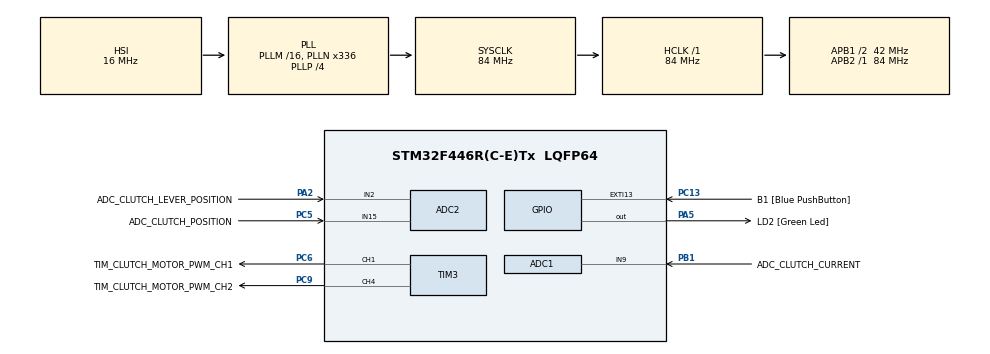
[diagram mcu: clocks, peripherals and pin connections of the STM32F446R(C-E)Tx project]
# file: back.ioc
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ADC1.Channel-0\#ChannelRegularConversion=ADC_CHANNEL_9
ADC1.DMAContinuousRequests=ENABLE
ADC1.ExternalTrigConv=ADC_EXTERNALTRIGCONV_T3_TRGO
ADC1.InjNumberOfConversion=0
ADC1.NbrOfConversion=1
ADC1.NbrOfConversionFlag=1
ADC1.Rank-0\#ChannelRegularConversion=1
ADC1.SamplingTime-0\#ChannelRegularConversion=ADC_SAMPLETIME_3CYCLES
ADC1.ScanConvMode=DISABLE
ADC1.master=1
ADC2.Channel-0\#ChannelRegularConversion=ADC_CHANNEL_15
ADC2.Channel-1\#ChannelRegularConversion=ADC_CHANNEL_2
ADC2.DMAContinuousRequests=ENABLE
ADC2.ExternalTrigConv=ADC_EXTERNALTRIGCONV_T2_TRGO
ADC2.NbrOfConversion=2
ADC2.NbrOfConversionFlag=1
ADC2.Rank-0\#ChannelRegularConversion=1
ADC2.Rank-1\#ChannelRegularConversion=2
ADC2.SamplingTime-0\#ChannelRegularConversion=ADC_SAMPLETIME_3CYCLES
ADC2.SamplingTime-1\#ChannelRegularConversion=ADC_SAMPLETIME_3CYCLES
Dma.ADC1.1.Direction=DMA_PERIPH_TO_MEMORY
Dma.ADC1.1.FIFOMode=DMA_FIFOMODE_DISABLE
Dma.ADC1.1.Instance=DMA2_Stream0
Dma.ADC1.1.MemDataAlignment=DMA_MDATAALIGN_HALFWORD
Dma.ADC1.1.MemInc=DMA_MINC_ENABLE
Dma.ADC1.1.Mode=DMA_CIRCULAR
Dma.ADC1.1.PeriphDataAlignment=DMA_PDATAALIGN_HALFWORD
Dma.ADC1.1.PeriphInc=DMA_PINC_DISABLE
Dma.ADC1.1.Priority=DMA_PRIORITY_MEDIUM
Dma.ADC2.0.Direction=DMA_PERIPH_TO_MEMORY
Dma.ADC2.0.FIFOMode=DMA_FIFOMODE_DISABLE
Dma.ADC2.0.Instance=DMA2_Stream2
Dma.ADC2.0.MemDataAlignment=DMA_MDATAALIGN_HALFWORD
Dma.ADC2.0.MemInc=DMA_MINC_ENABLE
Dma.ADC2.0.Mode=DMA_CIRCULAR
Dma.ADC2.0.PeriphDataAlignment=DMA_PDATAALIGN_HALFWORD
Dma.ADC2.0.PeriphInc=DMA_PINC_DISABLE
Dma.ADC2.0.Priority=DMA_PRIORITY_LOW
Dma.Request0=ADC2
Dma.Request1=ADC1
Mcu.Family=STM32F4
Mcu.Name=STM32F446R(C-E)Tx
Mcu.Package=LQFP64
Mcu.UserConstants=TIM_CLUTCH_MOTOR_PWM_ARR_DEFAULT,(4200-1)
NVIC.DMA2_Stream0_IRQn=true\:0\:0\:false\:false\:true\:false\:true\:true
NVIC.DMA2_Stream2_IRQn=true\:0\:0\:false\:false\:true\:false\:true\:true
NVIC.PriorityGroup=NVIC_PRIORITYGROUP_0
PA13.GPIO_Label=TMS
PA13.Mode=Serial_Wire
PA13.Signal=SYS_JTMS-SWDIO
PA14.GPIO_Label=TCK
PA14.Mode=Serial_Wire
PA14.Signal=SYS_JTCK-SWCLK
PA2.GPIO_Label=ADC_CLUTCH_LEVER_POSITION
PA2.Signal=ADCx_IN2
PA5.GPIO_Label=LD2 [Green Led]
PA5.Signal=GPIO_Output
PB1.GPIO_Label=ADC_CLUTCH_CURRENT
PB1.Signal=ADCx_IN9
PB3.GPIO_Label=SWO
PB3.Signal=SYS_JTDO-SWO
PB6.Signal=USART1_TX
PB7.Signal=USART1_RX
PC13.GPIO_Label=B1 [Blue PushButton]
PC13.GPIO_ModeDefaultEXTI=GPIO_MODE_IT_FALLING
PC13.Signal=GPXTI13
PC14-OSC32_IN.Mode=LSE-External-Oscillator
PC14-OSC32_IN.Signal=RCC_OSC32_IN
PC15-OSC32_OUT.Mode=LSE-External-Oscillator
PC15-OSC32_OUT.Signal=RCC_OSC32_OUT
PC5.GPIO_Label=ADC_CLUTCH_POSITION
PC5.Signal=ADCx_IN15
PC6.GPIO_Label=TIM_CLUTCH_MOTOR_PWM_CH1
PC6.Signal=S_TIM3_CH1
PC9.GPIO_Label=TIM_CLUTCH_MOTOR_PWM_CH2
PC9.Signal=S_TIM3_CH4
PH0-OSC_IN.Mode=HSE-External-Oscillator
PH0-OSC_IN.Signal=RCC_OSC_IN
PH1-OSC_OUT.Mode=HSE-External-Oscillator
PH1-OSC_OUT.Signal=RCC_OSC_OUT
ProjectManager.HeapSize=0x200
ProjectManager.StackSize=0x400
ProjectManager.TargetToolchain=STM32CubeIDE
RCC.48MHZClocksFreq_Value=84000000
RCC.AHBFreq_Value=84000000
RCC.APB1CLKDivider=RCC_HCLK_DIV2
RCC.APB1Freq_Value=42000000
RCC.APB1TimFreq_Value=84000000
RCC.APB2Freq_Value=84000000
RCC.APB2TimFreq_Value=84000000
RCC.CortexFreq_Value=84000000
RCC.FLatency-AdvancedSettings=FLASH_LATENCY_2
RCC.HCLKFreq_Value=84000000
RCC.HSE_VALUE=8000000
RCC.HSI_VALUE=16000000
RCC.PLLN=336
RCC.PLLP=RCC_PLLP_DIV4
RCC.SYSCLKFreq_VALUE=84000000
RCC.SYSCLKSource=RCC_SYSCLKSOURCE_PLLCLK
RCC.USBFreq_Value=168000000
RCC.VCOOutputFreq_Value=336000000
SH.ADCx_IN15.0=ADC2_IN15,IN15
SH.ADCx_IN2.0=ADC2_IN2,IN2
SH.ADCx_IN9.0=ADC1_IN9,IN9
SH.S_TIM3_CH1.0=TIM3_CH1,PWM Generation1 CH1
SH.S_TIM3_CH4.0=TIM3_CH4,PWM Generation4 CH4
TIM2.Channel-Output\ Compare1\ No\ Output=TIM_CHANNEL_1
TIM2.ClockDivision=TIM_CLOCKDIVISION_DIV1
TIM2.Period=84000-1
TIM2.TIM_MasterOutputTrigger=TIM_TRGO_UPDATE
TIM3.Channel-PWM\ Generation1\ CH1=TIM_CHANNEL_1
TIM3.Channel-PWM\ Generation4\ CH4=TIM_CHANNEL_4
TIM3.CounterMode=TIM_COUNTERMODE_CENTERALIGNED1
TIM3.Period=TIM_CLUTCH_MOTOR_PWM_ARR_DEFAULT
TIM3.TIM_MasterOutputTrigger=TIM_TRGO_UPDATE
VP_TIM2_VS_ClockSourceINT.Mode=Internal
VP_TIM2_VS_no_output1.Mode=Output Compare1 No Output
VP_TIM3_VS_ClockSourceINT.Mode=Internal
board=NUCLEO-F446RE

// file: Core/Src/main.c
/* USER CODE BEGIN Header */
/**
  ******************************************************************************
  * @file           : main.c
  * @brief          : Main program body
  ******************************************************************************
  * @attention
  *
  * Copyright (c) 2023 STMicroelectronics.
  * All rights reserved.
  *
  * This software is licensed under terms that can be found in the LICENSE file
  * in the root directory of this software component.
  * If no LICENSE file comes with this software, it is provided AS-IS.
  *
  ******************************************************************************
  */
/* USER CODE END Header */
#include "main.h"

/* USER CODE BEGIN Includes */
#include <stdbool.h>
/* USER CODE END Includes */

ADC_HandleTypeDef hadc1;
ADC_HandleTypeDef hadc2;
DMA_HandleTypeDef hdma_adc1;
DMA_HandleTypeDef hdma_adc2;

TIM_HandleTypeDef htim2;
TIM_HandleTypeDef htim3;

void SystemClock_Config(void);
static void MX_GPIO_Init(void);
static void MX_DMA_Init(void);
static void MX_TIM3_Init(void);
static void MX_ADC1_Init(void);
static void MX_ADC2_Init(void);
static void MX_TIM2_Init(void);

/* USER CODE BEGIN 0 */

/*
 * UTILITIES
 */

#define MIN(a, b) (((a) < (b))? (a) : (b))
#define MAX(a, b) (((a) > (b))? (a) : (b))
#define CLAMP(x, min, max) MAX(min, MIN(max, x))

// This doesn't expand the arguments
#define CONCAT_NOEXP(x, y) x ## y
// This does
#define CONCAT(x, y) CONCAT_NOEXP(x, y)

/*
 * CLUTCH MAIN LOGIC
 */

#define CLUTCH_CURRENT_HAL_ADC_HANDLE &hadc1
#define CLUTCH_POSITION_HAL_ADC_HANDLE &hadc2

#define CLUTCH_CURRENT_HAL_DMA_HANDLE &hdma_adc1
#define CLUTCH_POSITION_HAL_DMA_HANDLE &hdma_adc2

#define CLUTCH_POSITION_DMA_BUF_LEN 2
#define CLUTCH_CURRENT_DMA_BUF_LEN 1

uint32_t clutchPositionDmaBuf[CLUTCH_POSITION_DMA_BUF_LEN];
uint32_t clutchCurrentDmaBuf[CLUTCH_CURRENT_DMA_BUF_LEN];

#define TIM_CLUTCH_MOTOR_PWM_HAL_HANDLE &htim3
#define TIM_CLUTCH_POSADC_TRG_HAL_HANDLE &htim2

#define TIM_CLUTCH_MOTOR_PWM TIM3
#define TIM_CLUTCH_MOTOR_PWM_CCR1 TIM_CLUTCH_MOTOR_PWM->CCR1
#define TIM_CLUTCH_MOTOR_PWM_CCR2 TIM_CLUTCH_MOTOR_PWM->CCR4

/**
 * @brief Writes to the PWM timers the duty cycle that corresponds to the torque x.
 * @param x A value in the range [-1, 1] expressing the signed torque:
 *        0 means the motor applies no torque,
 *        +-1 means the motor applies full torque in the direction expressed by the sign.
 */
float lastTorque = 0.0f;

void clutchWriteTorque(float x) {
  if (x == 0) {
	lastTorque = 0.0f;

	// The motor should apply no torque. Set both PWM duty cycles to 0 to completely stop any current.
    TIM_CLUTCH_MOTOR_PWM_CCR1 = 0;
    TIM_CLUTCH_MOTOR_PWM_CCR2 = 0;
    return;
  }

  // Force x to be in the valid range
  x = CLAMP(x, -1, 1);
  lastTorque = x;

  // Map x from [-1, 1] to [-HALF_ARR, HALF_ARR]
  const int32_t HALF_ARR = (TIM_CLUTCH_MOTOR_PWM_ARR_DEFAULT) / 2;
  int32_t diff_from_half = (int32_t)(x * HALF_ARR);

  // Clamp the result to avoid overflow due to floating point errors
  diff_from_half = CLAMP(diff_from_half, -HALF_ARR, HALF_ARR);

  // Then write the CCRs, one complementary to the other.
  TIM_CLUTCH_MOTOR_PWM_CCR1 = HALF_ARR + diff_from_half;
  TIM_CLUTCH_MOTOR_PWM_CCR2 = HALF_ARR - diff_from_half;
}

void clutchCurrentADCConversionComplete_InterruptHandler(ADC_HandleTypeDef* hadc) {
  // TODO: update PID

  float reading = clutchCurrentDmaBuf[0];

  // MMR_CLUTCH_SetAdcMotorCurrent(...);

  // float ans = MMR_CLUTCH_UpdateCurrentRing();
  float ans = 0.0f;
  clutchWriteTorque(ans);
}

void clutchPositionADCConversionComplete_InterruptHandler(ADC_HandleTypeDef* hadc) {
  float readingMotor = clutchPositionDmaBuf[0];
  float readingLever = clutchPositionDmaBuf[1];

  // TODO: update PID
  // MMR_CLUTCH_SetAdcLeverPosition(..)
  // MMR_CLUTCH_SetAdcMotorPosition(..)
  // MMR_CLUTCH_UpdatePositionRing();
}

/*
 * CLUTCH ADC/DMA MANAGEMENT
 */

bool clutchDmaError = false;
void clutchDMATransferError_InterruptHandler(DMA_HandleTypeDef *hdma) {
	// Signal the rest of the program that the clutch DMA peripheral has entered an error state so that a restart is attempted
	clutchDmaError = true;
}

bool startClutchAdcDma(ADC_HandleTypeDef* hadc, DMA_HandleTypeDef* hdma, pADC_CallbackTypeDef convCompleteCallback, uint32_t* buf, uint32_t buf_len) {
  // HAL_*_RegisterCallback only returns false on bad parameters
  bool cbOk = HAL_OK == HAL_ADC_RegisterCallback(hadc, HAL_ADC_CONVERSION_COMPLETE_CB_ID, convCompleteCallback)
  	  	   && HAL_OK == HAL_DMA_RegisterCallback(hdma, HAL_DMA_XFER_ERROR_CB_ID, clutchDMATransferError_InterruptHandler);

  bool startOk = HAL_OK == HAL_ADC_Start_DMA(hadc, buf, buf_len);
  return cbOk && startOk;
}

bool startClutchCurrentAdcDma() {
  return startClutchAdcDma(
		  CLUTCH_CURRENT_HAL_ADC_HANDLE,
		  CLUTCH_CURRENT_HAL_DMA_HANDLE,
		  clutchCurrentADCConversionComplete_InterruptHandler,
		  clutchCurrentDmaBuf,
		  CLUTCH_CURRENT_DMA_BUF_LEN);
}

bool startClutchPositionAdcDma() {
  return startClutchAdcDma(
		  CLUTCH_POSITION_HAL_ADC_HANDLE,
		  CLUTCH_POSITION_HAL_DMA_HANDLE,
		  clutchPositionADCConversionComplete_InterruptHandler,
		  clutchPositionDmaBuf,
		  CLUTCH_POSITION_DMA_BUF_LEN);
}

bool tryStartClutchAdcDma() {
  return !(startClutchCurrentAdcDma() && startClutchPositionAdcDma());
}

/* USER CODE END 0 */

int main(void)
{

  /* MCU Configuration--------------------------------------------------------*/

  /* Reset of all peripherals, Initializes the Flash interface and the Systick. */
  HAL_Init();

  /* Configure the system clock */
  SystemClock_Config();

  /* Initialize all configured peripherals */
  MX_GPIO_Init();
  MX_DMA_Init();
  MX_TIM3_Init();
  MX_ADC1_Init();
  MX_ADC2_Init();
  MX_TIM2_Init();
  /* USER CODE BEGIN 2 */

  HAL_TIM_Base_Start(TIM_CLUTCH_POSADC_TRG_HAL_HANDLE);

  HAL_TIM_Base_Start(TIM_CLUTCH_MOTOR_PWM_HAL_HANDLE);
  HAL_TIM_PWM_Start(TIM_CLUTCH_MOTOR_PWM_HAL_HANDLE, TIM_CHANNEL_1);
  HAL_TIM_PWM_Start(TIM_CLUTCH_MOTOR_PWM_HAL_HANDLE, TIM_CHANNEL_4);

  clutchDmaError = tryStartClutchAdcDma();

  /* USER CODE END 2 */

  /* Infinite loop */
  while (1)
  {

    /* USER CODE BEGIN 3 */

	// If one of the clutch DMA peripherals are in an error state
	if (clutchDmaError) {
	  // Stop the motor
	  clutchWriteDutyCycle(0.0f);

	  // Attempt to restart the peripherals
	  clutchDmaError = tryStartClutchAdcDma();
	}
  }
  /* USER CODE END 3 */
}

void SystemClock_Config(void)
{
  RCC_OscInitTypeDef RCC_OscInitStruct = {0};
  RCC_ClkInitTypeDef RCC_ClkInitStruct = {0};

  /** Configure the main internal regulator output voltage
  */
  __HAL_RCC_PWR_CLK_ENABLE();
  __HAL_PWR_VOLTAGESCALING_CONFIG(PWR_REGULATOR_VOLTAGE_SCALE3);

  /** Initializes the RCC Oscillators according to the specified parameters
  * in the RCC_OscInitTypeDef structure.
  */
  RCC_OscInitStruct.OscillatorType = RCC_OSCILLATORTYPE_HSI;
  RCC_OscInitStruct.HSIState = RCC_HSI_ON;
  RCC_OscInitStruct.HSICalibrationValue = RCC_HSICALIBRATION_DEFAULT;
  RCC_OscInitStruct.PLL.PLLState = RCC_PLL_ON;
  RCC_OscInitStruct.PLL.PLLSource = RCC_PLLSOURCE_HSI;
  RCC_OscInitStruct.PLL.PLLM = 16;
  RCC_OscInitStruct.PLL.PLLN = 336;
  RCC_OscInitStruct.PLL.PLLP = RCC_PLLP_DIV4;
  RCC_OscInitStruct.PLL.PLLQ = 2;
  RCC_OscInitStruct.PLL.PLLR = 2;
  if (HAL_RCC_OscConfig(&RCC_OscInitStruct) != HAL_OK)
  {
    Error_Handler();
  }

  /** Initializes the CPU, AHB and APB buses clocks
  */
  RCC_ClkInitStruct.ClockType = RCC_CLOCKTYPE_HCLK|RCC_CLOCKTYPE_SYSCLK
                              |RCC_CLOCKTYPE_PCLK1|RCC_CLOCKTYPE_PCLK2;
  RCC_ClkInitStruct.SYSCLKSource = RCC_SYSCLKSOURCE_PLLCLK;
  RCC_ClkInitStruct.AHBCLKDivider = RCC_SYSCLK_DIV1;
  RCC_ClkInitStruct.APB1CLKDivider = RCC_HCLK_DIV2;
  RCC_ClkInitStruct.APB2CLKDivider = RCC_HCLK_DIV1;

  if (HAL_RCC_ClockConfig(&RCC_ClkInitStruct, FLASH_LATENCY_2) != HAL_OK)
  {
    Error_Handler();
  }
}

static void MX_ADC1_Init(void)
{

  ADC_ChannelConfTypeDef sConfig = {0};

  /** Configure the global features of the ADC (Clock, Resolution, Data Alignment and number of conversion)
  */
  hadc1.Instance = ADC1;
  hadc1.Init.ClockPrescaler = ADC_CLOCK_SYNC_PCLK_DIV4;
  hadc1.Init.Resolution = ADC_RESOLUTION_12B;
  hadc1.Init.ScanConvMode = DISABLE;
  hadc1.Init.ContinuousConvMode = DISABLE;
  hadc1.Init.DiscontinuousConvMode = DISABLE;
  hadc1.Init.ExternalTrigConvEdge = ADC_EXTERNALTRIGCONVEDGE_RISING;
  hadc1.Init.ExternalTrigConv = ADC_EXTERNALTRIGCONV_T3_TRGO;
  hadc1.Init.DataAlign = ADC_DATAALIGN_RIGHT;
  hadc1.Init.NbrOfConversion = 1;
  hadc1.Init.DMAContinuousRequests = ENABLE;
  hadc1.Init.EOCSelection = ADC_EOC_SINGLE_CONV;
  if (HAL_ADC_Init(&hadc1) != HAL_OK)
  {
    Error_Handler();
  }

  /** Configure for the selected ADC regular channel its corresponding rank in the sequencer and its sample time.
  */
  sConfig.Channel = ADC_CHANNEL_9;
  sConfig.Rank = 1;
  sConfig.SamplingTime = ADC_SAMPLETIME_3CYCLES;
  if (HAL_ADC_ConfigChannel(&hadc1, &sConfig) != HAL_OK)
  {
    Error_Handler();
  }

}

static void MX_ADC2_Init(void)
{

  ADC_ChannelConfTypeDef sConfig = {0};

  /** Configure the global features of the ADC (Clock, Resolution, Data Alignment and number of conversion)
  */
  hadc2.Instance = ADC2;
  hadc2.Init.ClockPrescaler = ADC_CLOCK_SYNC_PCLK_DIV4;
  hadc2.Init.Resolution = ADC_RESOLUTION_12B;
  hadc2.Init.ScanConvMode = ENABLE;
  hadc2.Init.ContinuousConvMode = DISABLE;
  hadc2.Init.DiscontinuousConvMode = DISABLE;
  hadc2.Init.ExternalTrigConvEdge = ADC_EXTERNALTRIGCONVEDGE_RISING;
  hadc2.Init.ExternalTrigConv = ADC_EXTERNALTRIGCONV_T2_TRGO;
  hadc2.Init.DataAlign = ADC_DATAALIGN_RIGHT;
  hadc2.Init.NbrOfConversion = 2;
  hadc2.Init.DMAContinuousRequests = ENABLE;
  hadc2.Init.EOCSelection = ADC_EOC_SINGLE_CONV;
  if (HAL_ADC_Init(&hadc2) != HAL_OK)
  {
    Error_Handler();
  }

  /** Configure for the selected ADC regular channel its corresponding rank in the sequencer and its sample time.
  */
  sConfig.Channel = ADC_CHANNEL_15;
  sConfig.Rank = 1;
  sConfig.SamplingTime = ADC_SAMPLETIME_3CYCLES;
  if (HAL_ADC_ConfigChannel(&hadc2, &sConfig) != HAL_OK)
  {
    Error_Handler();
  }

  /** Configure for the selected ADC regular channel its corresponding rank in the sequencer and its sample time.
  */
  sConfig.Channel = ADC_CHANNEL_2;
  sConfig.Rank = 2;
  if (HAL_ADC_ConfigChannel(&hadc2, &sConfig) != HAL_OK)
  {
    Error_Handler();
  }

}

static void MX_TIM2_Init(void)
{

  TIM_ClockConfigTypeDef sClockSourceConfig = {0};
  TIM_MasterConfigTypeDef sMasterConfig = {0};
  TIM_OC_InitTypeDef sConfigOC = {0};

  htim2.Instance = TIM2;
  htim2.Init.Prescaler = 0;
  htim2.Init.CounterMode = TIM_COUNTERMODE_UP;
  htim2.Init.Period = 84000-1;
  htim2.Init.ClockDivision = TIM_CLOCKDIVISION_DIV1;
  htim2.Init.AutoReloadPreload = TIM_AUTORELOAD_PRELOAD_DISABLE;
  if (HAL_TIM_Base_Init(&htim2) != HAL_OK)
  {
    Error_Handler();
  }
  sClockSourceConfig.ClockSource = TIM_CLOCKSOURCE_INTERNAL;
  if (HAL_TIM_ConfigClockSource(&htim2, &sClockSourceConfig) != HAL_OK)
  {
    Error_Handler();
  }
  if (HAL_TIM_OC_Init(&htim2) != HAL_OK)
  {
    Error_Handler();
  }
  sMasterConfig.MasterOutputTrigger = TIM_TRGO_UPDATE;
  sMasterConfig.MasterSlaveMode = TIM_MASTERSLAVEMODE_DISABLE;
  if (HAL_TIMEx_MasterConfigSynchronization(&htim2, &sMasterConfig) != HAL_OK)
  {
    Error_Handler();
  }
  sConfigOC.OCMode = TIM_OCMODE_TIMING;
  sConfigOC.Pulse = 0;
  sConfigOC.OCPolarity = TIM_OCPOLARITY_HIGH;
  sConfigOC.OCFastMode = TIM_OCFAST_DISABLE;
  if (HAL_TIM_OC_ConfigChannel(&htim2, &sConfigOC, TIM_CHANNEL_1) != HAL_OK)
  {
    Error_Handler();
  }

}

static void MX_TIM3_Init(void)
{

  TIM_ClockConfigTypeDef sClockSourceConfig = {0};
  TIM_MasterConfigTypeDef sMasterConfig = {0};
  TIM_OC_InitTypeDef sConfigOC = {0};

  htim3.Instance = TIM3;
  htim3.Init.Prescaler = 0;
  htim3.Init.CounterMode = TIM_COUNTERMODE_CENTERALIGNED1;
  htim3.Init.Period = TIM_CLUTCH_MOTOR_PWM_ARR_DEFAULT;
  htim3.Init.ClockDivision = TIM_CLOCKDIVISION_DIV1;
  htim3.Init.AutoReloadPreload = TIM_AUTORELOAD_PRELOAD_DISABLE;
  if (HAL_TIM_Base_Init(&htim3) != HAL_OK)
  {
    Error_Handler();
  }
  sClockSourceConfig.ClockSource = TIM_CLOCKSOURCE_INTERNAL;
  if (HAL_TIM_ConfigClockSource(&htim3, &sClockSourceConfig) != HAL_OK)
  {
    Error_Handler();
  }
  if (HAL_TIM_PWM_Init(&htim3) != HAL_OK)
  {
    Error_Handler();
  }
  sMasterConfig.MasterOutputTrigger = TIM_TRGO_UPDATE;
  sMasterConfig.MasterSlaveMode = TIM_MASTERSLAVEMODE_DISABLE;
  if (HAL_TIMEx_MasterConfigSynchronization(&htim3, &sMasterConfig) != HAL_OK)
  {
    Error_Handler();
  }
  sConfigOC.OCMode = TIM_OCMODE_PWM1;
  sConfigOC.Pulse = 0;
  sConfigOC.OCPolarity = TIM_OCPOLARITY_HIGH;
  sConfigOC.OCFastMode = TIM_OCFAST_DISABLE;
  if (HAL_TIM_PWM_ConfigChannel(&htim3, &sConfigOC, TIM_CHANNEL_1) != HAL_OK)
  {
    Error_Handler();
  }
  if (HAL_TIM_PWM_ConfigChannel(&htim3, &sConfigOC, TIM_CHANNEL_4) != HAL_OK)
  {
    Error_Handler();
  }
  HAL_TIM_MspPostInit(&htim3);

}

static void MX_DMA_Init(void)
{

  /* DMA controller clock enable */
  __HAL_RCC_DMA2_CLK_ENABLE();

  /* DMA interrupt init */
  /* DMA2_Stream0_IRQn interrupt configuration */
  HAL_NVIC_SetPriority(DMA2_Stream0_IRQn, 0, 0);
  HAL_NVIC_EnableIRQ(DMA2_Stream0_IRQn);
  /* DMA2_Stream2_IRQn interrupt configuration */
  HAL_NVIC_SetPriority(DMA2_Stream2_IRQn, 0, 0);
  HAL_NVIC_EnableIRQ(DMA2_Stream2_IRQn);

}

static void MX_GPIO_Init(void)
{
  GPIO_InitTypeDef GPIO_InitStruct = {0};

  /* GPIO Ports Clock Enable */
  __HAL_RCC_GPIOC_CLK_ENABLE();
  __HAL_RCC_GPIOH_CLK_ENABLE();
  __HAL_RCC_GPIOA_CLK_ENABLE();
  __HAL_RCC_GPIOB_CLK_ENABLE();

  /*Configure GPIO pin Output Level */
  HAL_GPIO_WritePin(LD2_GPIO_Port, LD2_Pin, GPIO_PIN_RESET);

  /*Configure GPIO pin : B1_Pin */
  GPIO_InitStruct.Pin = B1_Pin;
  GPIO_InitStruct.Mode = GPIO_MODE_IT_FALLING;
  GPIO_InitStruct.Pull = GPIO_NOPULL;
  HAL_GPIO_Init(B1_GPIO_Port, &GPIO_InitStruct);

  /*Configure GPIO pin : LD2_Pin */
  GPIO_InitStruct.Pin = LD2_Pin;
  GPIO_InitStruct.Mode = GPIO_MODE_OUTPUT_PP;
  GPIO_InitStruct.Pull = GPIO_NOPULL;
  GPIO_InitStruct.Speed = GPIO_SPEED_FREQ_LOW;
  HAL_GPIO_Init(LD2_GPIO_Port, &GPIO_InitStruct);

  /*Configure GPIO pins : PB6 PB7 */
  GPIO_InitStruct.Pin = GPIO_PIN_6|GPIO_PIN_7;
  GPIO_InitStruct.Mode = GPIO_MODE_AF_PP;
  GPIO_InitStruct.Pull = GPIO_NOPULL;
  GPIO_InitStruct.Speed = GPIO_SPEED_FREQ_VERY_HIGH;
  GPIO_InitStruct.Alternate = GPIO_AF7_USART1;
  HAL_GPIO_Init(GPIOB, &GPIO_InitStruct);

}

void Error_Handler(void)
{
  __disable_irq();
  while (1)
  {
  }
}
